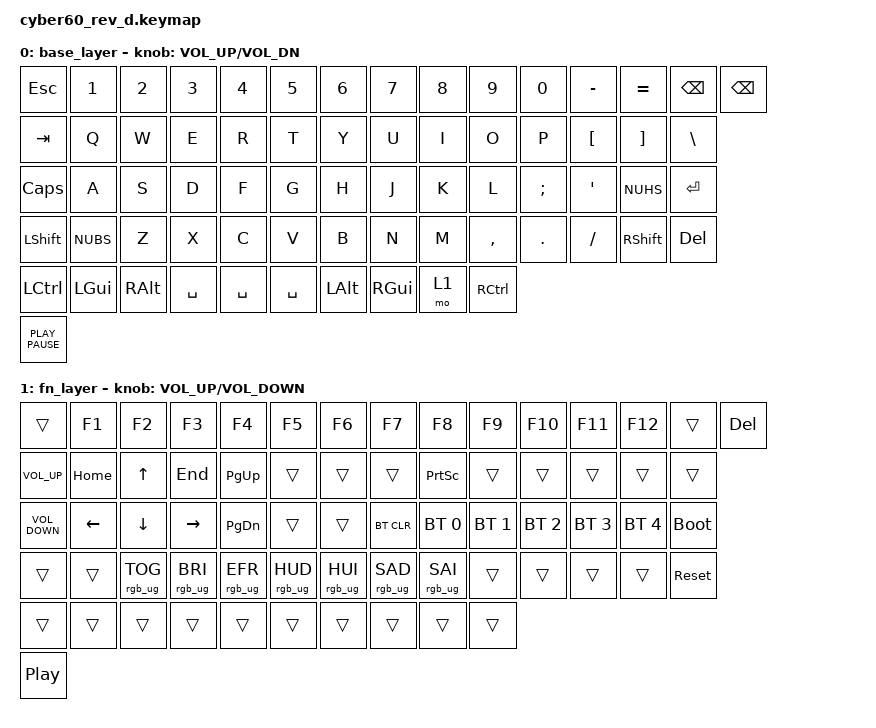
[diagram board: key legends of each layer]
#include <behaviors.dtsi>
#include <dt-bindings/zmk/bt.h>
#include <dt-bindings/zmk/keys.h>
#include <dt-bindings/zmk/rgb.h>

#define FN1 1

/ {
    keymap {
        compatible = "zmk,keymap";

        base_layer {
            // Base layer
            // ------------------------------------------------------------------------------------------
            // | ESC |  1  |  2  |  3  |  4  |  5  |  6  |  7  |  8  |  9  |  0  |  -  |  =  |   BKSP   |
            // |  TAB |  Q  |  W  |  E  |  R  |  T  |  Y  |  U  |  I  |  O  |  P  |  [  |  ]  |   "|"   |
            // | CAPS  |  A  |  S  |  D  |  F  |  G  |  H  |  J  |  K  |  L  |  ;  |  '  |NUHS| ENTER   |
            // | SHIFT |NUBS| Z |  X  |  C  |  V  |  B  |  N  |  M  |  ,  |  .  |  /  |    Shift   | FN |
            // |  LCTL  |  LWIN  |  LALT  | SPACE  | SPACE |    SPACE   |  RALT | FN  |   RWIN  | RCTRL |
            // | Rotary | (<-- Rotary switch) ----------------------------------------------------------- 

            bindings = <
&kp ESC           &kp N1    &kp N2    &kp N3     &kp N4     &kp N5     &kp N6    &kp N7         &kp N8  &kp N9     &kp N0    &kp MINUS  &kp EQUAL  &kp BSPC  &kp BSPC
&kp TAB           &kp Q     &kp W     &kp E      &kp R      &kp T      &kp Y     &kp U          &kp I   &kp O      &kp P     &kp LBKT   &kp RBKT   &kp BSLH
&kp CLCK          &kp A     &kp S     &kp D      &kp F      &kp G      &kp H     &kp J          &kp K   &kp L      &kp SEMI  &kp SQT    &kp NUHS   &kp RET
&kp LSHFT         &kp NUBS  &kp Z     &kp X      &kp C      &kp V      &kp B     &kp N          &kp M   &kp COMMA  &kp DOT   &kp FSLH   &kp RSHFT  &kp DEL
&kp LCTRL         &kp LGUI  &kp RALT  &kp SPACE  &kp SPACE  &kp SPACE  &kp LALT  &kp RIGHT_GUI  &mo 1   &kp RCTRL
&kp K_PLAY_PAUSE
            >;

            sensor-bindings = <&inc_dec_kp C_VOL_UP C_VOL_DN>;
        };

        fn_layer {
            // Function layer
            // ------------------------------------------------------------------------------------------
            // | RESET | F1 |  F2 |  F3 |  F4 |  F5 |  F6 |  F7 |  F8 |  F9 | F10 | F11 | F12 |TRNS | DEL |
            // |BT_CLR |TRNS | UP  | BT0 | BT1 | BT2 | BT3 | BT4 | TRNS | TRNS | TRNS | TRNS | TRNS | TRNS|
            // | BOOTL  |LEFT |DOWN |RIGHT|TRNS |TRNS |TRNS | TRNS| TRNS |TRNS| TRNS |TRNS | TRNS | TRNS  |
            // | TRNS |TRNS|TRNS|TRNS|TRNS | TRNS| TRNS | TRNS |  TRNS| TRNS | TRNS| TRNS |   TRNS   |TRNS|
            // |  TRNS | TRNS | TRNS |      TRNS      | TRNS |     TRNS     |  TRNS |  TRNS | TRNS | TRNS |
            // | Rotary | (<-- Rotary switch) ----------------------------------------------------------- 

            bindings = <
&trans             &kp F1    &kp F2           &kp F3           &kp F4           &kp F5           &kp F6           &kp F7           &kp F8           &kp F9        &kp F10       &kp F11       &kp F12       &trans       &kp DEL
&kp C_VOLUME_UP    &kp HOME  &kp UP           &kp END          &kp PG_UP        &trans           &trans           &trans           &kp PRINTSCREEN  &trans        &trans        &trans        &trans        &trans
&kp C_VOLUME_DOWN  &kp LEFT  &kp DOWN         &kp RIGHT        &kp PG_DN        &trans           &trans           &bt BT_CLR       &bt BT_SEL 0     &bt BT_SEL 1  &bt BT_SEL 2  &bt BT_SEL 3  &bt BT_SEL 4  &bootloader
&trans             &trans    &rgb_ug RGB_TOG  &rgb_ug RGB_BRI  &rgb_ug RGB_EFR  &rgb_ug RGB_HUD  &rgb_ug RGB_HUI  &rgb_ug RGB_SAD  &rgb_ug RGB_SAI  &trans        &trans        &trans        &trans        &sys_reset
&trans             &trans    &trans           &trans           &trans           &trans           &trans           &trans           &trans           &trans
&kp C_PLAY_PAUSE
            >;

            sensor-bindings = <&inc_dec_kp C_VOLUME_UP C_VOLUME_DOWN>;
        };
    };
};
